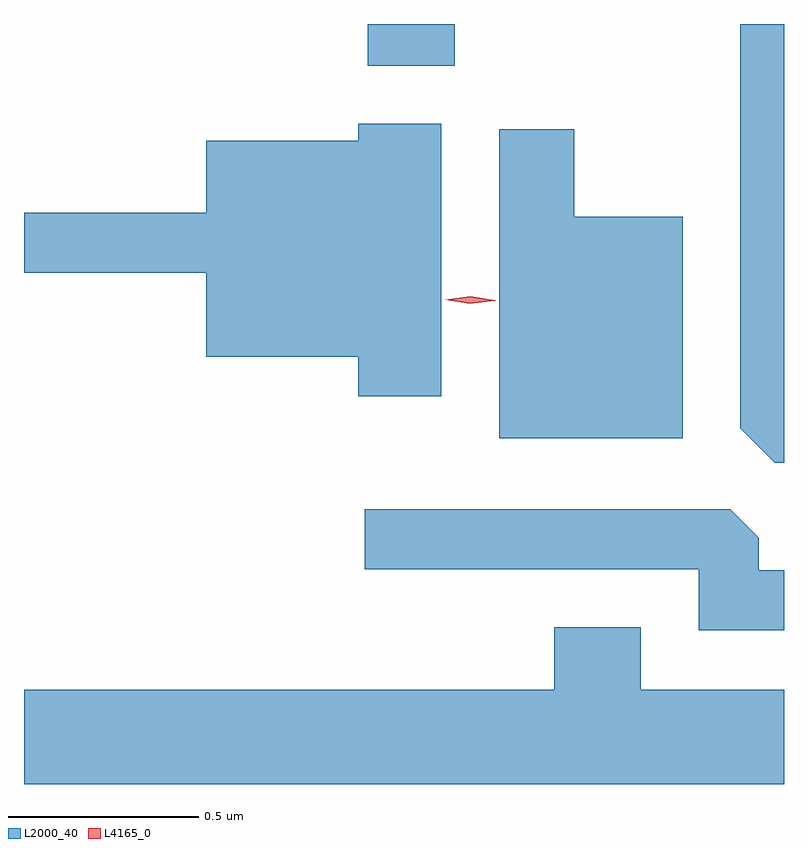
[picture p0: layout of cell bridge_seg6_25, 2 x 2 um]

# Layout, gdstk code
import gdstk
lib = gdstk.Library(unit=1e-6, precision=1e-09)
def R(c, l, rs):  # rectangles x0, y0, x1, y1
    for r in rs: c.add(gdstk.rectangle(r[:2], r[2:], *l))
def P(c, l, *ps):  # polygons
    for p in ps: c.add(gdstk.Polygon(p, *l))
L2000_40 = (2000, 40)
L4165_0 = (4165, 0)

bridge_seg6_25 = lib.new_cell('bridge_seg6_25')
R(bridge_seg6_25, L2000_40, [(1806.691,1660.726,1806.919,1660.836)])
P(bridge_seg6_25, L2000_40, [(1807.786,1660.836),(1807.671,1660.836),(1807.671,1659.772),(1807.762,1659.681),(1807.786,1659.681)],
  [(1806.884,1660.574),(1806.666,1660.574),(1806.666,1660.529),(1806.266,1660.529),(1806.266,1660.339),(1805.786,1660.339),(1805.786,1660.181),(1806.266,1660.181),(1806.266,1659.961),(1806.666,1659.961),(1806.666,1659.856),(1806.884,1659.856)],
  [(1807.519,1660.329),(1807.234,1660.329),(1807.234,1660.559),(1807.036,1660.559),(1807.036,1659.746),(1807.519,1659.746)],
  [(1807.786,1659.399),(1807.719,1659.399),(1807.719,1659.484),(1807.644,1659.559),(1806.683,1659.559),(1806.683,1659.401),(1807.561,1659.401),(1807.561,1659.241),(1807.786,1659.241)],
  [(1807.786,1659.084),(1807.409,1659.084),(1807.409,1659.249),(1807.181,1659.249),(1807.181,1659.084),(1805.786,1659.084),(1805.786,1658.836),(1807.786,1658.836)])
P(bridge_seg6_25, L4165_0, [(1806.959,1660.1),(1806.894,1660.11),(1806.893,1660.11),(1806.894,1660.111),(1806.96,1660.119),(1807.026,1660.109),(1807.026,1660.109),(1807.026,1660.108)])

lib.write_gds('bridge_seg6_25.gds')
